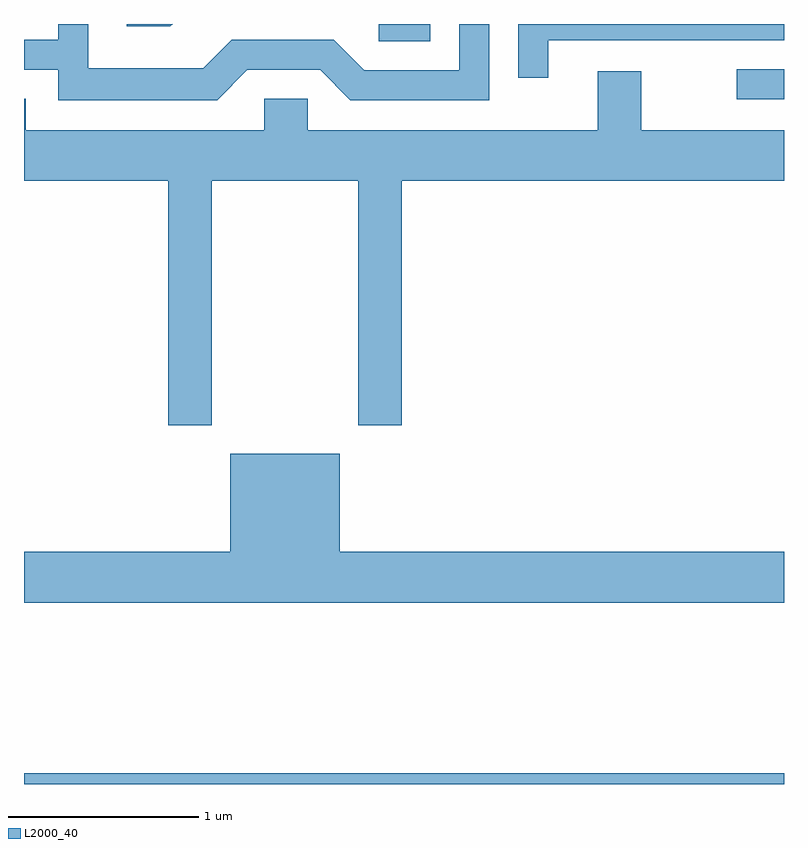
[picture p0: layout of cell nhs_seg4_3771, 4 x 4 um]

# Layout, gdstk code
import gdstk
lib = gdstk.Library(unit=1e-6, precision=1e-09)
def R(c, l, rs):  # rectangles x0, y0, x1, y1
    for r in rs: c.add(gdstk.rectangle(r[:2], r[2:], *l))
def P(c, l, *ps):  # polygons
    for p in ps: c.add(gdstk.Polygon(p, *l))
L2000_40 = (2000, 40)

nhs_seg4_3771 = lib.new_cell('nhs_seg4_3771')
R(nhs_seg4_3771, L2000_40, [(295.611,1315.982,299.611,1316.039), (299.363,1319.586,299.611,1319.744), (297.478,1319.891,297.749,1319.982)])
P(nhs_seg4_3771, L2000_40, [(298.369,1319.896),(299.611,1319.896),(299.611,1319.982),(298.211,1319.982),(298.211,1319.698),(298.369,1319.698)],
  [(296.787,1319.741),(297.169,1319.741),(297.329,1319.581),(298.059,1319.581),(298.059,1319.982),(297.901,1319.982),(297.901,1319.739),(297.402,1319.739),(297.242,1319.899),(296.704,1319.899),(296.554,1319.749),(295.949,1319.749),(295.949,1319.982),(295.791,1319.982),(295.791,1319.899),(295.611,1319.899),(295.611,1319.741),(295.791,1319.741),(295.791,1319.581),(296.627,1319.581)],
  [(296.393,1319.982),(296.153,1319.982),(296.153,1319.971),(296.382,1319.971)],
  [(296.599,1319.156),(297.371,1319.156),(297.371,1317.871),(297.599,1317.871),(297.599,1319.156),(299.611,1319.156),(299.611,1319.424),(298.859,1319.424),(298.859,1319.734),(298.631,1319.734),(298.631,1319.424),(297.104,1319.424),(297.104,1319.589),(296.876,1319.589),(296.876,1319.424),(295.619,1319.424),(295.619,1319.589),(295.611,1319.589),(295.611,1319.156),(296.371,1319.156),(296.371,1317.871),(296.599,1317.871)],
  [(299.611,1317.204),(297.274,1317.204),(297.274,1317.719),(296.696,1317.719),(296.696,1317.204),(295.611,1317.204),(295.611,1316.936),(299.611,1316.936)])

lib.write_gds('nhs_seg4_3771.gds')
